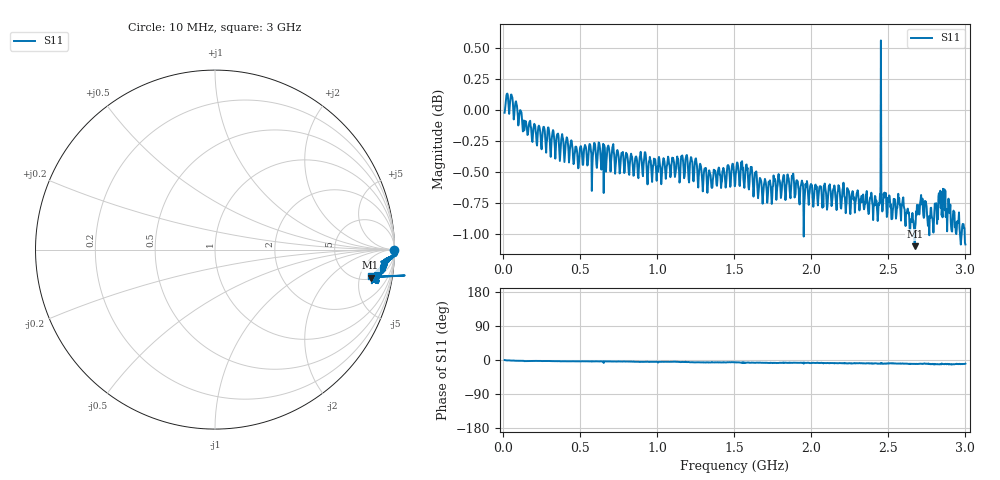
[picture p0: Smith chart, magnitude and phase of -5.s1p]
# HZ S RI R 50
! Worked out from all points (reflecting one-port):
!   1010 points, 10 MHz to 3 GHz, reference 50 ohm
!   lowest |S11| = -1.1 dB at 2.671 GHz (marker M1), VSWR 15.81, Z = 264 - j371 ohm
!   phase of S11 starts at -0 deg and turns -10 deg over the sweep
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1e7  0.9976 -0.00259
4.555996e7  1.007 -0.0241
1.374232e8  0.9801 -0.05
3.863429e8  0.9735 -0.0561
7.597225e8  0.9447 -0.0658
8.98999e8  0.9516 -0.0805
1.133102e9  0.9519 -0.0779
1.302012e9  0.936 -0.0991
1.506482e9  0.9282 -0.0967
1.556858e9  0.9422 -0.104
1.728731e9  0.9251 -0.1295
1.879861e9  0.9328 -0.1226
2.253241e9  0.8974 -0.1366
2.312507e9  0.9016 -0.1295
2.434004e9  0.8944 -0.156
2.436967e9  0.9041 -0.1522
2.466601e9  0.9049 -0.1544
2.469564e9  0.9114 -0.1598
2.475491e9  0.9142 -0.1481
2.516977e9  0.9059 -0.1358
2.62662e9  0.8985 -0.1589
2.67107e9  0.867 -0.1569
2.709594e9  0.906 -0.1598
2.745154e9  0.9036 -0.1516
2.780714e9  0.8901 -0.1721
2.84887e9  0.8984 -0.16
2.914063e9  0.8759 -0.1746
3e9  0.8699 -0.1483
